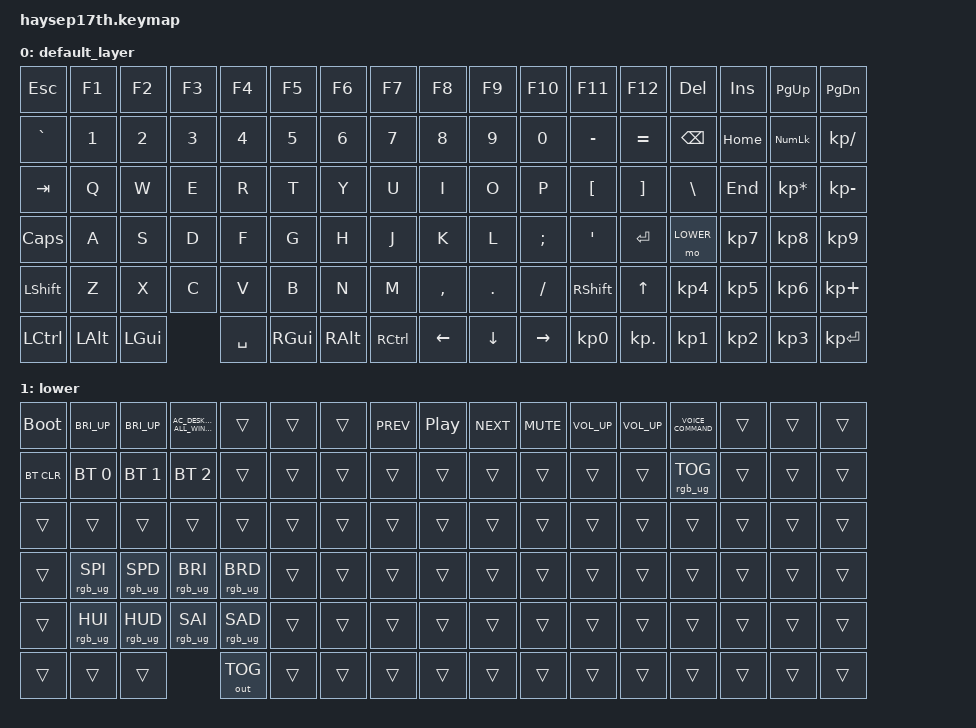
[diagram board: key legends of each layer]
/*
 * Copyright (c) 2020 The ZMK Contributors
 *
 * SPDX-License-Identifier: MIT
 */

#include <behaviors.dtsi>
#include <dt-bindings/zmk/keys.h>
#include <dt-bindings/zmk/rgb.h>
#include <dt-bindings/zmk/bt.h>
#include <dt-bindings/zmk/outputs.h>
#include <dt-bindings/zmk/ext_power.h>

#define DEFAULT 0
#define LOWER   1

/ {
	keymap0: keymap {
		compatible = "zmk,keymap";

		default_layer {
// -----------------------------------------------------------------------------------------------------
// | ESC |  1  |  2  |  3  |  4  |  5  |  6  |  7  |  8  |  9  |  0  |  -  |  =  |   BKSP   |   DEL    |
// | TAB  |  Q  |  W  |  E  |  R  |  T  |  Y  |  U  |  I  |  O  |  P  |  [  |  ]  |   "|"   |  PGUP    |
// | CAPS  |  A  |  S  |  D  |  F  |  G  |  H  |  J  |  K  |  L  |  ;  |  '  |     ENTER    |  PGDN    |
// |  SHIFT  |  Z  |  X  |  C  |  V  |  B  |  N  |  M  |  ,  |  .  |  /  |   SHIFT   |   UP   |  WIN   |
// |  CTL  |  fn  |  ALT  |    SPACE                SPACE    |  ALT  |  CTL  |  LEFT |  DOWN  | RIGHT  |
// -----------------------------------------------------------------------------------------------------
			bindings = <
	&kp ESC   &kp F1   &kp F2  &kp F3  &kp F4    &kp F5   &kp F6   &kp F7    &kp F8    &kp F9   &kp F10   &kp F11   &kp F12    &kp DEL   &kp INS   &kp PG_UP        &kp PG_DN 
	&kp GRAVE &kp N1   &kp N2  &kp N3  &kp N4    &kp N5   &kp N6   &kp N7    &kp N8    &kp N9   &kp N0    &kp MINUS &kp EQUAL  &kp BSPC  &kp HOME  &kp KP_NUM       &kp KP_SLASH
    &kp TAB   &kp Q    &kp W   &kp E   &kp R     &kp T    &kp Y    &kp U     &kp I     &kp O    &kp P     &kp LBKT  &kp RBKT   &kp BSLH  &kp END   &kp KP_MULTIPLY  &kp KP_MINUS
	&kp CLCK  &kp A    &kp S   &kp D   &kp F     &kp G    &kp H    &kp J     &kp K     &kp L    &kp SEMI  &kp SQT   &kp RET    &mo LOWER &kp KP_N7 &kp KP_N8        &kp KP_N9
	&kp LSHFT &kp Z    &kp X   &kp C   &kp V     &kp B    &kp N    &kp M     &kp COMMA &kp DOT  &kp FSLH  &kp RSHFT &kp UP     &kp KP_N4 &kp KP_N5 &kp KP_N6        &kp KP_PLUS
	&kp LCTRL &kp LALT &kp LGUI        &kp SPACE &kp RGUI &kp RALT &kp RCTRL &kp LEFT  &kp DOWN &kp RIGHT &kp KP_N0 &kp KP_DOT &kp KP_N1 &kp KP_N2 &kp KP_N3        &kp KP_ENTER
			>;
		};

		lower {
// ------------------------------------------------------------------------------------------------------
// | ~   |  F1 |  F2 |  F3 |  F4 |  F5 |  F6 |  F7 |  F8 |  F9 | F10 |  F11 |  F12 |  BT_CLR   |  BOOT  |
// | TAB | BT1 |  BT2 |  BT3 |  R  |  T  |  Y  |  U  |  INS  |  O  |  PB  |  [  |  ]  |   "|"  |  VOLUP |
// | CAPS  |  A  |  SLCK  |  D  |  F  |  G  | HOME|  J  |  K  |  L  |  ;  |  '  |     ENTER    |  VOLDN |
// |  SHIFT  |  Z  |  X  |  C  |  V  |  B  |  END |  M  |  ,  |  .  |  /  |   SHIFT   |   UP   |  WIN   |
// |  CTL  |  fn  |  ALT  |            trans USB/BT          |  ALT  |  CTL  |  LEFT  |  DOWN  | RIGHT  |
// ------------------------------------------------------------------------------------------------------
			bindings = <
	&bootloader &kp C_BRI_UP    &kp C_BRI_UP    &kp C_AC_DESKTOP_SHOW_ALL_WINDOWS &trans          &trans &trans &kp C_PREV &kp C_PP &kp C_NEXT &kp C_MUTE &kp C_VOL_UP &kp C_VOL_UP &kp C_VOICE_COMMAND &trans &trans &trans 
	&bt BT_CLR  &bt BT_SEL 0    &bt BT_SEL 1    &bt BT_SEL 2                      &trans          &trans &trans &trans     &trans   &trans     &trans     &trans       &trans       &rgb_ug RGB_TOG     &trans &trans &trans
    &trans      &trans          &trans          &trans                            &trans          &trans &trans &trans     &trans   &trans     &trans     &trans       &trans       &trans              &trans &trans &trans    
	&trans      &rgb_ug RGB_SPI &rgb_ug RGB_SPD &rgb_ug RGB_BRI                   &rgb_ug RGB_BRD &trans &trans &trans     &trans   &trans     &trans     &trans       &trans       &trans              &trans &trans &trans  
	&trans      &rgb_ug RGB_HUI &rgb_ug RGB_HUD &rgb_ug RGB_SAI                   &rgb_ug RGB_SAD &trans &trans &trans     &trans   &trans     &trans     &trans       &trans       &trans              &trans &trans &trans
	&trans      &trans          &trans                                            &out OUT_TOG    &trans &trans &trans     &trans   &trans     &trans     &trans       &trans       &trans              &trans &trans &trans
	
			>;	
		};
	};
};
